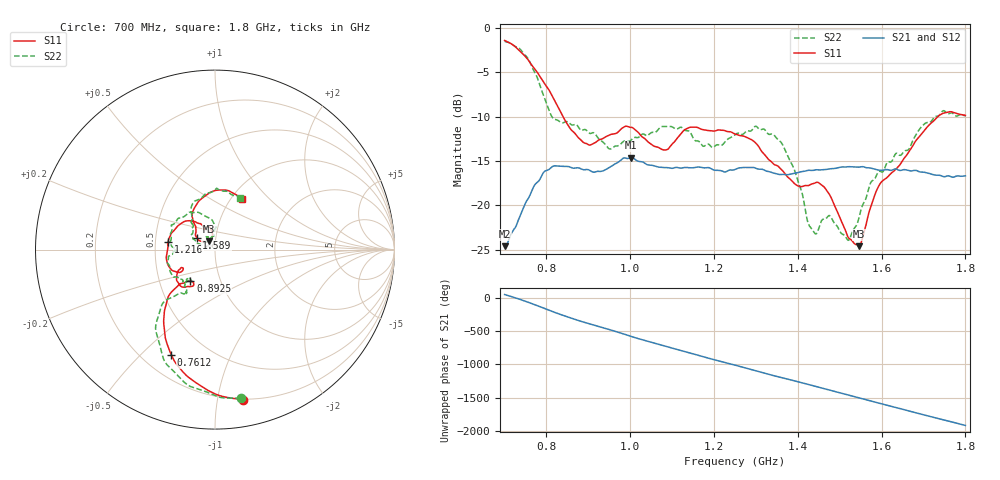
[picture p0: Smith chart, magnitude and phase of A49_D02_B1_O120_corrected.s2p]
! Created with skrf 1.9.0 (http://scikit-rf.org).
# Hz S RI R 50.0
!freq ReS11 ImS11 ReS21 ImS21 ReS12 ImS12 ReS22 ImS22
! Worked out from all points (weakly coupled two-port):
!   1601 points, 700 MHz to 1.8 GHz, reference 50 ohm
!   highest |S21| = -14.61 dB at 1.002 GHz (marker M1); lowest = -24.6 dB at 701.4 MHz (marker M2)
!   lowest |S11| = -24.6 dB at 1.546 GHz (marker M3), VSWR 1.13, Z = 46.4 + j4.37 ohm
!   |S11| at or under -10 dB: 839.5 MHz to 1.734 GHz (894.5 MHz wide, 69.5 % of centre)
!   |S22| runs from -23.9 to -1.5 dB; largest |S21 - S12| = 0.0035
!   S11 on the Smith chart (normalised r, x): 700 MHz: 0.20, -1.19; 761.2 MHz: 0.32, -0.62; 892.5 MHz: 0.72, -0.27; 1.216 GHz: 0.58, +0.05; 1.589 GHz: 0.81, +0.11; 1.8 GHz: 1.12, +0.71
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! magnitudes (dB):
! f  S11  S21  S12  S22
! 700 MHz  -1.4  -24.6  -24.4  -1.5
! 701.4 MHz  -1.4  -24.6  -24.2  -1.5
! 761.2 MHz  -3.9  -18.8  -18.7  -3.9
! 814.1 MHz  -7.7  -15.6  -15.7  -10.1
! 883.6 MHz  -12.7  -15.9  -15.8  -11.6
! 892.5 MHz  -13.0  -16.0  -16.0  -11.5
! 950.9 MHz  -12.0  -15.7  -15.7  -13.6
! 1.002 GHz  -11.2  -14.6  -14.7  -12.6
! 1.067 GHz  -13.5  -15.7  -15.6  -11.4
! 1.141 GHz  -11.2  -15.8  -15.7  -11.7
! 1.216 GHz  -11.5  -16.1  -16.1  -13.3
! 1.25 GHz  -12.0  -16.0  -15.9  -12.0
! 1.3 GHz  -13.0  -15.8  -15.8  -11.1
! 1.359 GHz  -15.9  -16.5  -16.5  -12.9
! 1.434 GHz  -17.6  -16.1  -16.0  -22.7
! 1.476 GHz  -18.8  -15.9  -15.9  -21.1
! 1.521 GHz  -23.6  -15.6  -15.7  -23.9
! 1.546 GHz  -24.6  -15.7  -15.7  -21.3
! 1.589 GHz  -18.2  -16.0  -16.0  -16.5
! 1.617 GHz  -16.7  -16.0  -16.0  -15.1
! 1.737 GHz  -9.9  -16.6  -16.7  -9.9
! 1.8 GHz  -9.9  -16.7  -16.7  -9.9
